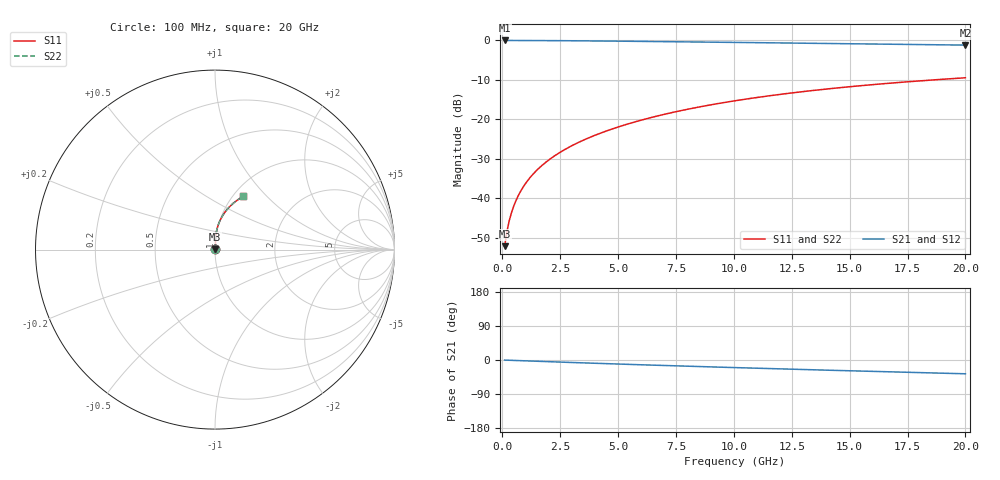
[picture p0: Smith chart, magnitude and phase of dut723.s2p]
! Touchstone file exported from HFSS 2024.1.0
!  File:  C:/UserFiles/LocalFiles/RDL_TSV_Batchsim/temp_RDL_bottom_723_1779858578.aedt
!  Generated:  01:12:03 PM May 27, 2026
!  Design:  RDL_bottom
!  Project:  temp_RDL_bottom_723_1779858578
!  Setup:  Setup1
!  Solution:  Sweep
! Variables:
!  dtsv = 10.80580581um
!  hbump = 3um
!  htsv = 68.57um
!  ldown = 503.32um
!  lrdl = 100um
!  p = 40
!  p1 = 55.94um
!  rhole = 1um
!  t = 450um
!  tdown = 4.42um
!  trdl = 3.915915916um
!  wdown = 24.57um
!  wrdl = 20um
# GHz S MA R 50.000000
! Terminal data exported
! Port[1] = RDL1_T1
! Port[2] = RDL1_T2
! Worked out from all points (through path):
!   200 points, 100 MHz to 20 GHz, reference 50 ohm
!   highest |S21| = -0.02 dB at 100 MHz (marker M1); lowest = -1.2 dB at 20 GHz (marker M2)
!   group delay of S21, straight-line fit = 4.99 ps
!   lowest |S11| = -52.1 dB at 100 MHz (marker M3), VSWR 1.00, Z = 50.2 + j0.167 ohm
!   |S11| at or under -10 dB: start of sweep to 18.64 GHz
!   |S22| runs from -52.1 to -9.5 dB; largest |S21 - S12| = 3.8e-15
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0.1  0.002471 42.2  0.9982 -0.2  0.9982 -0.2  0.002471 42.2
! Gamma 0 0 0 0
! Port Impedance 50 0 50 0
0.2  0.003785 59.1  0.998 -0.5  0.998 -0.5  0.003785 59.1
0.3  0.005194 66.8  0.9979 -0.7  0.9979 -0.7  0.005194 66.8
0.4  0.006614 71.2  0.9977 -0.9  0.9977 -0.9  0.006614 71.2
0.5  0.00804 74.2  0.9976 -1.1  0.9976 -1.1  0.00804 74.2
0.6  0.009476 76.4  0.9974 -1.3  0.9974 -1.3  0.009476 76.4
0.8  0.01238 79.5  0.9971 -1.8  0.9971 -1.8  0.01238 79.5
1.1  0.0168 82.2  0.9965 -2.5  0.9965 -2.5  0.0168 82.2
1.5  0.0228 84.3  0.9955 -3.3  0.9955 -3.3  0.0228 84.3
1.8  0.02737 85.2  0.9946 -4.0  0.9946 -4.0  0.02737 85.2
2.1  0.032 85.9  0.9936 -4.6  0.9936 -4.6  0.032 85.9
2.7  0.04144 86.7  0.9911 -5.9  0.9911 -5.9  0.04144 86.7
3.5  0.05441 87.1  0.9871 -7.6  0.9871 -7.6  0.05441 87.1
4.2  0.06613 87.0  0.983 -9.1  0.983 -9.1  0.06613 87.0
5  0.07992 86.6  0.9781 -10.7  0.9781 -10.7  0.07992 86.6
6.8  0.1121 84.7  0.9659 -14.2  0.9659 -14.2  0.1121 84.7
8.4  0.1415 82.3  0.9546 -17.1  0.9546 -17.1  0.1415 82.3
10.1  0.1728 79.4  0.9426 -20.1  0.9426 -20.1  0.1728 79.4
11.7  0.2017 76.5  0.9312 -22.9  0.9312 -22.9  0.2017 76.5
13.4  0.2317 73.4  0.9191 -25.8  0.9191 -25.8  0.2317 73.4
16.7  0.2864 67.5  0.8954 -31.2  0.8954 -31.2  0.2864 67.5
20  0.336 61.8  0.8716 -36.4  0.8716 -36.4  0.336 61.8
